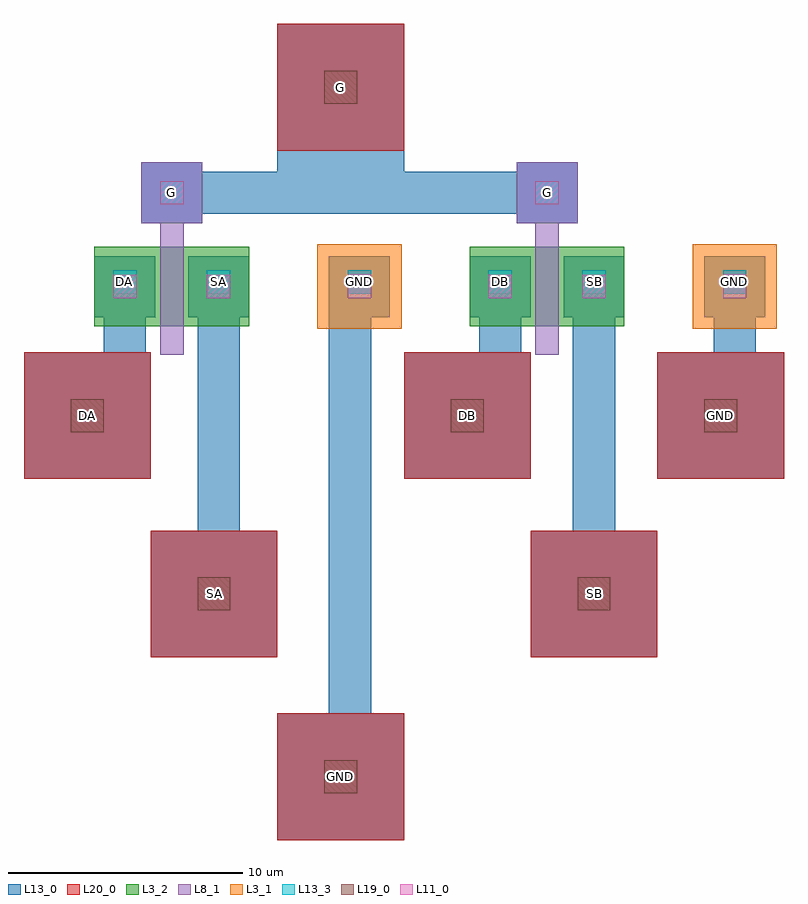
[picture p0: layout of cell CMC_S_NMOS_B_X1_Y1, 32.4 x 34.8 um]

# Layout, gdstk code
import gdstk
lib = gdstk.Library(unit=1e-6, precision=1e-09)
def R(c, l, rs):  # rectangles x0, y0, x1, y1
    for r in rs: c.add(gdstk.rectangle(r[:2], r[2:], *l))
def A(c, l, x, y, w, h, nx, ny, dx, dy):  # array of equal rectangles
    R(c, l, [(x+i*dx, y+j*dy, x+i*dx+w, y+j*dy+h) for i in range(nx) for j in range(ny)])
def P(c, l, *ps):  # polygons
    for p in ps: c.add(gdstk.Polygon(p, *l))
L3_1 = (3, 1)
L3_2 = (3, 2)
L8_1 = (8, 1)
L11_0 = (11, 0)
L13_0 = (13, 0)
L13_3 = (13, 3)
L19_0 = (19, 0)
L20_0 = (20, 0)

cmc_s_nmos_b_x1_y1 = lib.new_cell('CMC_S_NMOS_B_X1_Y1')
R(cmc_s_nmos_b_x1_y1, L3_1, [(10.5,2.1,14.1,5.7), (26.5,2.1,30.1,5.7)])
R(cmc_s_nmos_b_x1_y1, L3_2, [(1,2.2,7.6,5.6), (17,2.2,23.6,5.6)])
R(cmc_s_nmos_b_x1_y1, L8_1, [(3,6.6,5.6,9.2), (19,6.6,21.6,9.2), (3,6.8,5.6,9.2), (19,6.8,21.6,9.2)])
A(cmc_s_nmos_b_x1_y1, L11_0, 5.8, 3.4, 1, 1, 3, 1, 6, 0)
R(cmc_s_nmos_b_x1_y1, L11_0, [(1.8,3.4,2.8,4.4), (21.8,3.4,22.8,4.4), (27.8,3.4,28.8,4.4), (3.8,7.4,4.8,8.4), (19.8,7.4,20.8,8.4)])
P(cmc_s_nmos_b_x1_y1, L13_0, [(-2,-4.3),(-2,1.1),(1.4,1.1),(1.4,2.6),(1,2.6),(1,5.2),(3.6,5.2),(3.6,2.6),(3.2,2.6),(3.2,1.1),(3.4,1.1),(3.4,-4.3)],
  [(3.4,-11.9),(3.4,-6.5),(5.4,-6.5),(5.4,2.6),(5,2.6),(5,5.2),(7.6,5.2),(7.6,2.6),(7.2,2.6),(7.2,-6.5),(8.8,-6.5),(8.8,-11.9)],
  [(8.8,-19.7),(8.8,-14.3),(11,-14.3),(11,5.2),(13.6,5.2),(13.6,2.6),(12.8,2.6),(12.8,-14.3),(14.2,-14.3),(14.2,-19.7)],
  [(14.2,-4.3),(14.2,1.1),(17.4,1.1),(17.4,2.6),(17,2.6),(17,5.2),(19.6,5.2),(19.6,2.6),(19.2,2.6),(19.2,1.1),(19.6,1.1),(19.6,-4.3)],
  [(19.6,-11.9),(19.6,-6.5),(21.4,-6.5),(21.4,2.6),(21,2.6),(21,5.2),(23.6,5.2),(23.6,2.6),(23.2,2.6),(23.2,-6.5),(25,-6.5),(25,-11.9)],
  [(25,-4.3),(25,1.1),(27.4,1.1),(27.4,2.6),(27,2.6),(27,5.2),(29.6,5.2),(29.6,2.6),(29.2,2.6),(29.2,1.1),(30.4,1.1),(30.4,-4.3)],
  [(3,6.6),(3,9.2),(5.6,9.2),(5.6,8.8),(8.8,8.8),(8.8,15.1),(14.2,15.1),(14.2,8.8),(19,8.8),(19,9.2),(21.6,9.2),(21.6,6.6),(19,6.6),(19,7),(5.6,7),(5.6,6.6)])
R(cmc_s_nmos_b_x1_y1, L13_3, [(1.8,3.6,2.8,4.6), (1.8,3.6,2.8,4.6), (5.8,3.6,6.8,4.6), (5.8,3.6,6.8,4.6), (11.8,3.6,12.8,4.6), (11.8,3.6,12.8,4.6), (17.8,3.6,18.8,4.6), (17.8,3.6,18.8,4.6), (21.8,3.6,22.8,4.6), (21.8,3.6,22.8,4.6), (27.8,3.6,28.8,4.6), (27.8,3.6,28.8,4.6), (3.8,7.4,4.8,8.4), (3.8,7.4,4.8,8.4), (19.8,7.4,20.8,8.4), (19.8,7.4,20.8,8.4)])
R(cmc_s_nmos_b_x1_y1, L19_0, [(10.8,-17.7,12.2,-16.3), (5.4,-9.9,6.8,-8.5), (21.6,-9.9,23,-8.5), (0,-2.3,1.4,-0.9), (16.2,-2.3,17.6,-0.9), (27,-2.3,28.4,-0.9), (10.8,11.7,12.2,13.1)])
R(cmc_s_nmos_b_x1_y1, L20_0, [(8.8,-19.7,14.2,-14.3), (3.4,-11.9,8.8,-6.5), (19.6,-11.9,25,-6.5), (-2,-4.3,3.4,1.1), (14.2,-4.3,19.6,1.1), (25,-4.3,30.4,1.1), (8.8,9.7,14.2,15.1)])
cmc_s_nmos_b_x1_y1.add(gdstk.FlexPath([(4.3,1),(4.3,6.8)], 1, ends="flush", simple_path=True, layer=8, datatype=1))  # L8_1
cmc_s_nmos_b_x1_y1.add(gdstk.FlexPath([(20.3,1),(20.3,6.8)], 1, ends="flush", simple_path=True, layer=8, datatype=1))  # L8_1
cmc_s_nmos_b_x1_y1.add(gdstk.Label('DA', (2.3,4.1), layer=48, texttype=0))
cmc_s_nmos_b_x1_y1.add(gdstk.Label('SA', (6.3,4.1), layer=48, texttype=0))
cmc_s_nmos_b_x1_y1.add(gdstk.Label('G', (4.3,7.9), layer=48, texttype=0))
cmc_s_nmos_b_x1_y1.add(gdstk.Label('GND', (12.3,4.1), layer=48, texttype=0))
cmc_s_nmos_b_x1_y1.add(gdstk.Label('DB', (18.3,4.1), layer=48, texttype=0))
cmc_s_nmos_b_x1_y1.add(gdstk.Label('SB', (22.3,4.1), layer=48, texttype=0))
cmc_s_nmos_b_x1_y1.add(gdstk.Label('G', (20.3,7.9), layer=48, texttype=0))
cmc_s_nmos_b_x1_y1.add(gdstk.Label('GND', (28.3,4.1), layer=48, texttype=0))
cmc_s_nmos_b_x1_y1.add(gdstk.Label('DA', (2.3,4.1), layer=13, texttype=4))
cmc_s_nmos_b_x1_y1.add(gdstk.Label('SA', (6.3,4.1), layer=13, texttype=4))
cmc_s_nmos_b_x1_y1.add(gdstk.Label('G', (4.3,7.9), layer=13, texttype=4))
cmc_s_nmos_b_x1_y1.add(gdstk.Label('GND', (12.3,4.1), layer=13, texttype=4))
cmc_s_nmos_b_x1_y1.add(gdstk.Label('DB', (18.3,4.1), layer=13, texttype=4))
cmc_s_nmos_b_x1_y1.add(gdstk.Label('SB', (22.3,4.1), layer=13, texttype=4))
cmc_s_nmos_b_x1_y1.add(gdstk.Label('G', (20.3,7.9), layer=13, texttype=4))
cmc_s_nmos_b_x1_y1.add(gdstk.Label('GND', (28.3,4.1), layer=13, texttype=4))
cmc_s_nmos_b_x1_y1.add(gdstk.Label('DA', (0.7,-1.6), layer=49, texttype=0))
cmc_s_nmos_b_x1_y1.add(gdstk.Label('SA', (6.1,-9.2), layer=49, texttype=0))
cmc_s_nmos_b_x1_y1.add(gdstk.Label('DB', (16.9,-1.6), layer=49, texttype=0))
cmc_s_nmos_b_x1_y1.add(gdstk.Label('SB', (22.3,-9.2), layer=49, texttype=0))
cmc_s_nmos_b_x1_y1.add(gdstk.Label('G', (11.5,12.4), layer=49, texttype=0))
cmc_s_nmos_b_x1_y1.add(gdstk.Label('GND', (27.7,-1.6), layer=49, texttype=0))
cmc_s_nmos_b_x1_y1.add(gdstk.Label('GND', (11.5,-17), layer=49, texttype=0))

lib.write_gds('CMC_S_NMOS_B_X1_Y1.gds')
